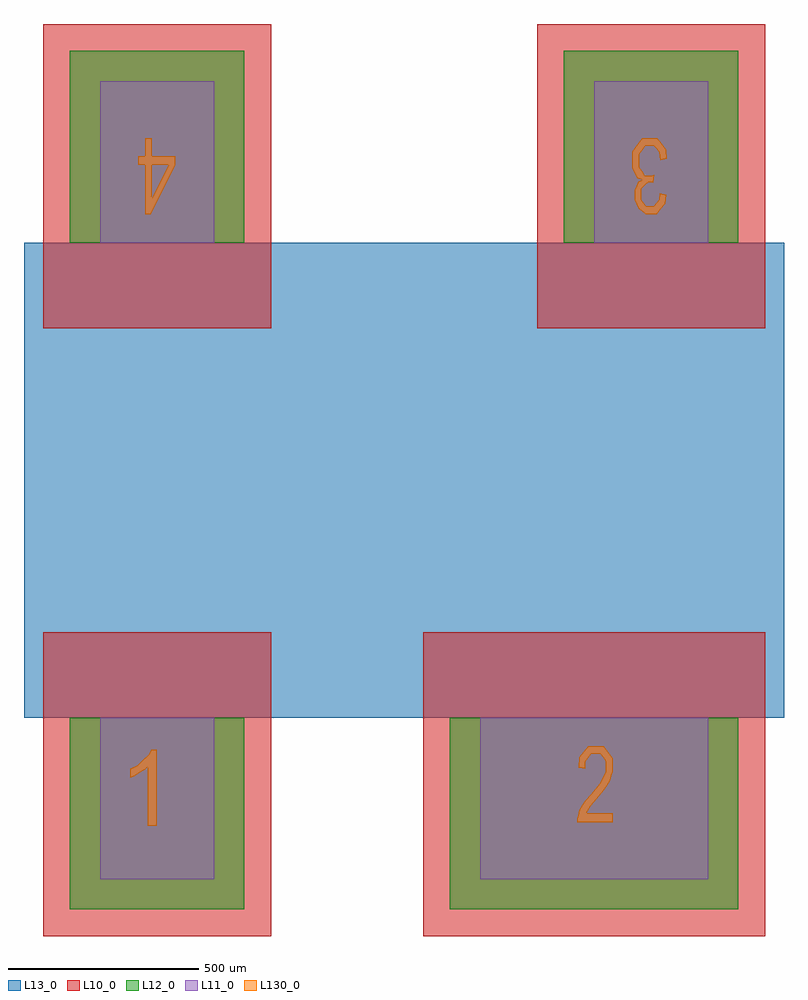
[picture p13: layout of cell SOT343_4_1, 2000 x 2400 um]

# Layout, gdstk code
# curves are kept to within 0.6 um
import gdstk
lib = gdstk.Library(unit=1e-6, precision=1e-09)
def R(c, l, rs):  # rectangles x0, y0, x1, y1
    for r in rs: c.add(gdstk.rectangle(r[:2], r[2:], *l))
def P(c, l, *ps):  # polygons
    for p in ps: c.add(gdstk.Polygon(p, *l))
L10_0 = (10, 0)
L11_0 = (11, 0)
L12_0 = (12, 0)
L13_0 = (13, 0)
L130_0 = (130, 0)

sot343_4_1 = lib.new_cell('SOT343_4_1')
R(sot343_4_1, L10_0, [(-950,-1200,-350,-400), (50,-1200,950,-400), (-950,400,-350,1200), (350,400,950,1200)])
R(sot343_4_1, L11_0, [(-800,-1050,-500,-625), (200,-1050,800,-625), (-800,625,-500,1050), (500,625,800,1050)])
R(sot343_4_1, L12_0, [(-880,-1130,-420,-625), (120,-1130,880,-625), (-880,625,-420,1130), (420,625,880,1130)])
R(sot343_4_1, L13_0, [(-1000,-625,1000,625)])
P(sot343_4_1, L130_0, [(-680.605,900),(-680.605,852.115),(-699.56,852.115),(-699.56,829.604),(-680.605,829.604),(-680.605,700),(-666.533,700),(-602.489,829.604),(-602.489,852.115),(-663.374,852.115),(-663.374,829.604),(-619.433,829.604),(-663.374,739.427),(-663.374,900)],
  [(480.129,-876.495),(483.026,-869.837),(491.91,-856.658),(526.288,-815.897),(542.414,-790.353),(549.367,-767.256),(549.367,-731.793),(525.612,-700),(485.054,-700),(461.105,-729.484),(459.27,-757.609),(477.135,-760.19),(477.232,-741.44),(492.296,-720.245),(516.728,-720.245),(531.502,-740.218),(531.502,-768.614),(515.279,-799.728),(477.328,-843.478),(461.588,-869.565),(455.794,-891.168),(455.987,-900),(549.56,-900),(549.56,-876.495)],
  [(690.101,869.292),(665.83,900),(627.091,900),(600.44,864.352),(600.44,819.76),(614.146,794.526),(626.52,790.52),(617.002,784.379),(607.293,763.551),(607.293,737.517),(617.478,713.752),(636.704,700),(664.688,700),(686.96,726.569),(690.101,750.734),(672.968,755.007),(671.065,737.383),(657.739,719.759),(637.656,719.759),(624.902,737.116),(624.902,767.023),(642.415,783.044),(656.121,782.777),(658.025,803.872),(650.791,801.202),(634.039,801.202),(618.62,822.697),(618.62,856.609),(635.276,880.107),(657.549,880.107),(671.731,862.083),(674.682,841.656),(691.814,844.86)],
  [(-650.44,-710),(-665.576,-710),(-671.709,-722.907),(-701.198,-750.353),(-720.902,-760),(-720.902,-783.642),(-709.941,-779.429),(-682.409,-762.581),(-673.927,-754.158),(-673.927,-910),(-650.44,-910)])

lib.write_gds('SOT343_4_1.gds')
